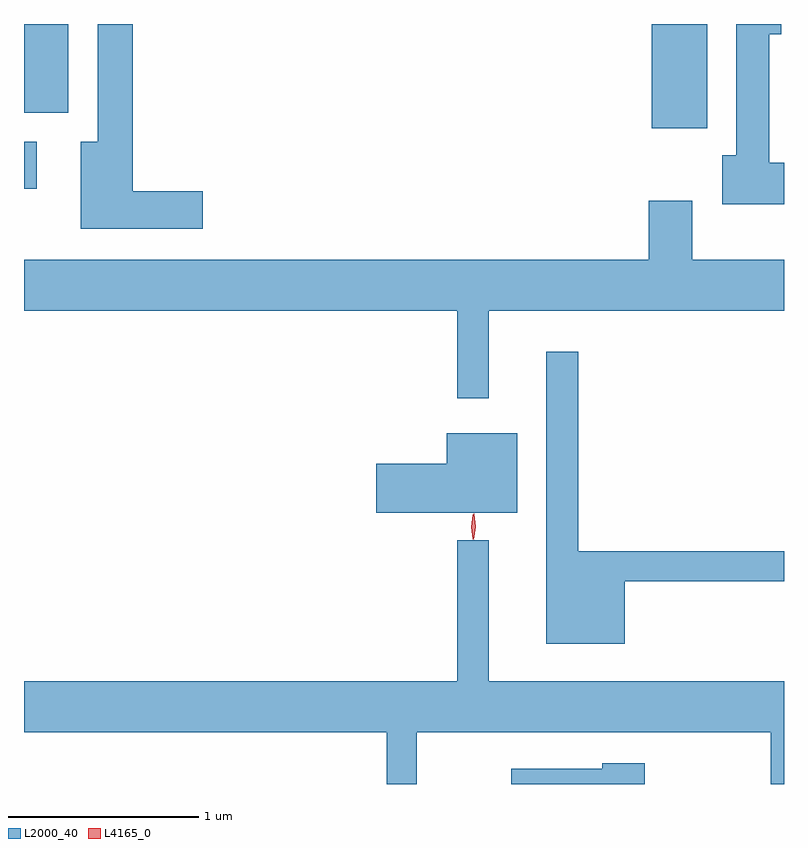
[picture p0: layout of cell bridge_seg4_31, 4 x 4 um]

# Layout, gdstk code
import gdstk
lib = gdstk.Library(unit=1e-6, precision=1e-09)
def R(c, l, rs):  # rectangles x0, y0, x1, y1
    for r in rs: c.add(gdstk.rectangle(r[:2], r[2:], *l))
def P(c, l, *ps):  # polygons
    for p in ps: c.add(gdstk.Polygon(p, *l))
L2000_40 = (2000, 40)
L4165_0 = (4165, 0)

bridge_seg4_31 = lib.new_cell('bridge_seg4_31')
R(bridge_seg4_31, L2000_40, [(1165.082,1299.816,1165.149,1300.064), (1168.386,1300.136,1168.679,1300.684), (1165.082,1300.216,1165.314,1300.684)])
P(bridge_seg4_31, L2000_40, [(1166.024,1299.804),(1165.654,1299.804),(1165.654,1300.684),(1165.471,1300.684),(1165.471,1300.064),(1165.381,1300.064),(1165.381,1299.606),(1166.024,1299.606)],
  [(1169.082,1299.954),(1169.004,1299.954),(1169.004,1300.631),(1169.068,1300.631),(1169.068,1300.684),(1168.831,1300.684),(1168.831,1299.994),(1168.756,1299.994),(1168.756,1299.736),(1169.082,1299.736)],
  [(1167.529,1299.176),(1169.082,1299.176),(1169.082,1299.444),(1168.599,1299.444),(1168.599,1299.754),(1168.371,1299.754),(1168.371,1299.444),(1165.082,1299.444),(1165.082,1299.176),(1167.361,1299.176),(1167.361,1298.713),(1167.529,1298.713)],
  [(1168.244,1297.751),(1169.082,1297.751),(1169.082,1297.909),(1167.999,1297.909),(1167.999,1298.958),(1167.831,1298.958),(1167.831,1297.421),(1168.244,1297.421)],
  [(1167.679,1298.529),(1167.306,1298.529),(1167.306,1298.369),(1166.936,1298.369),(1166.936,1298.111),(1167.679,1298.111)],
  [(1167.149,1296.956),(1169.011,1296.956),(1169.011,1296.684),(1169.082,1296.684),(1169.082,1297.224),(1167.529,1297.224),(1167.529,1297.968),(1167.361,1297.968),(1167.361,1297.224),(1165.082,1297.224),(1165.082,1296.956),(1166.991,1296.956),(1166.991,1296.684),(1167.149,1296.684)],
  [(1168.349,1296.794),(1168.126,1296.794),(1168.126,1296.764),(1167.646,1296.764),(1167.646,1296.684),(1168.349,1296.684)])
P(bridge_seg4_31, L4165_0, [(1167.448,1297.97),(1167.439,1298.038),(1167.45,1298.106),(1167.45,1298.106),(1167.451,1298.106),(1167.459,1298.038),(1167.449,1297.97),(1167.449,1297.97)],
  [(1167.445,1297.973),(1167.444,1297.974),(1167.435,1298.036),(1167.444,1298.1),(1167.445,1298.1),(1167.446,1298.1),(1167.455,1298.036),(1167.446,1297.974)])

lib.write_gds('bridge_seg4_31.gds')
